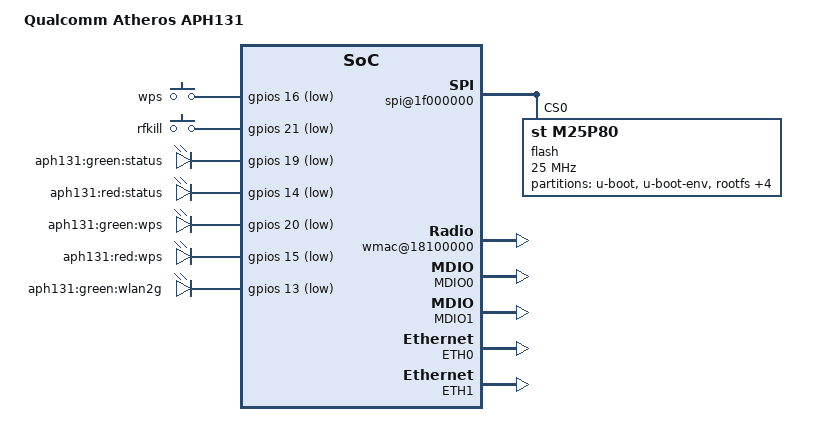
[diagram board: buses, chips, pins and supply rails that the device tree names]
/*
 * Copyright (c) 2013 Qualcomm Atheros, Inc.
 *
 * This program is free software; you can redistribute it and/or modify it
 * under the terms of the GNU General Public License version 2 as published
 * by the Free Software Foundation.
 */

/dts-v1/;

/ {
	model = "Qualcomm Atheros APH131";
	compatible = "ath79,aph131";
	#address-cells = <1>;
	#size-cells = <1>;
	interrupt-parent = <&vic>;

	gpios: ath79-gpio {
		#gpio-cells = <2>;
		gpio-controller;
	};

	ahb {
		compatible = "simple-bus";
		#address-cells = <1>;
		#size-cells = <1>;
		ranges;

		vic: intc {
			compatible = "interrupt-controller";
			interrupt-controller;
			#interrupt-cells = <1>;
		};

		spi@1f000000 {
			compatible = "qcom,ag71xx-spi";	 /* master */
			#address-cells = <1>;
			#size-cells = <0>;
			reg = <0x1f000000 0x01000000>;

			flash: m25p80@0 {
				compatible = "st,m25p80";	/* modalias */
				#address-cells = <1>;
				#size-cells = <1>;
				spi-max-frequency = <25000000>; /* max_speed_hz */
				reg = <0>;			/* chip_select */
				spi-controller-data = <1 0 0>;  /* is_flash cs_type cs_line */

				partition@u-boot {
					label = "u-boot";
					reg = <0x00000000 0x00040000>;
                                        read-only;
                                };
				partition@u-boot-env {
					label = "u-boot-env";
					reg = <0x00040000 0x00010000>;
                                        read-only;
                                };
                                partition@rootfs {
                                        label = "rootfs";
                                        reg = <0x00050000 0x00630000>;
                                };
                                partition@kernel {
                                        label = "kernel";
                                        reg = <0x00680000 0x00160000>;
                                        read-only;
                                };
                                partition@dtb {
                                        label = "dtb";
                                        reg = <0x007e0000 0x00010000>;
                                        read-only;
                                };
                                partition@art {
                                        label = "art";
                                        reg = <0x007f0000 0x00010000>;
                                        read-only;
                                };
                                partition@firmware {
                                        label = "firmware";
                                        reg = <0x00050000 0x00790000>;
                                };
			};
		};

		wmac@18100000 {
			compatible = "qcom,ag71xx-wmac";
			reg = <0x18100000 0x20000>;
			interrupts = <47>;
			interrupt-parent = <&vic>;
		};

		MDIO0: mdio@19000000 {
			compatible = "qcom,ag71xx-mdio";
			reg = <0x19000000 0x200>;
			reg-names = "mdio_base";
		};

		MDIO1: mdio@1a000000 {
			compatible = "qcom,ag71xx-mdio";
			reg = <0x1a000000 0x200>;
			reg-names = "mdio_base";

			bi-phy-addr = <5>;
		};

		ETH0: ethernet@19000000 { /* PLC */
			compatible = "qcom,ag71xx-eth";
			reg = <0x19000000 0x200>,
			      <0x18070000 0x40>;
			reg-names = "mac_base",
				"cfg_base";
			interrupts = <4>;
			interrupt-names = "mac_irq";
			interrupt-parent = <&vic>;
			mdio-handle = <&MDIO0>;

			eth-cfg = <0x00000012>; /* MII_GE0_SLAVE | MII_GMAC0 */
			eth-phy-cfg = <1 0 100 1>; /* phy_if_mode:MII phy_mask:0 speed:100M duplex:DUPLEX_FULL */
		};

		ETH1: ethernet@1a000000 { /* G PHY */
			compatible = "qcom,ag71xx-eth";
			reg = <0x1a000000 0x200>;
			reg-names = "mac_base";
			interrupts = <5>;
			interrupt-names = "mac_irq";
			interrupt-parent = <&vic>;
			mdio-handle = <&MDIO1>;

			eth-phy-cfg = <3 0x20 1000 1>; /* phy_if_mode:SGMII phy_mask:bit(5) speed:1G duplex:DUPLEX_FULL */
			eth-pll-data = <0 0 0x06000000>; /* pll_10 pll_100 pll_1000 */
		};
	};

	gpio-keys {
		compatible = "gpio-keys";
		#address-cells = <1>;
		#size-cells = <0>;

		wps {
			label = "wps";
			gpios = <&gpios 16 1>;
			linux,code = <529>;
			debounce-interval = <60>;
		};
		rfkill {
			label = "rfkill";
			gpios = <&gpios 21 1>;
			linux,code = <583>;
			debounce-interval = <60>;
		};
	};

	gpio-leds {
		compatible = "gpio-leds";

		status-green {
			label = "aph131:green:status";
			gpios = <&gpios 19 1>;
			linux,default-trigger = "timer";
		};

		status-red {
			label = "aph131:red:status";
			gpios = <&gpios 14 1>;
			linux,default-trigger = "timer";
		};

		wps-green {
			label = "aph131:green:wps";
			gpios = <&gpios 20 1>;
			linux,default-trigger = "timer";
		};

		wps-red {
			label = "aph131:red:wps";
			gpios = <&gpios 15 1>;
			linux,default-trigger = "timer";
		};

		wlan2g {
			label = "aph131:green:wlan2g";
			gpios = <&gpios 13 1>;
			linux,default-trigger = "timer";
		};
	};
};
